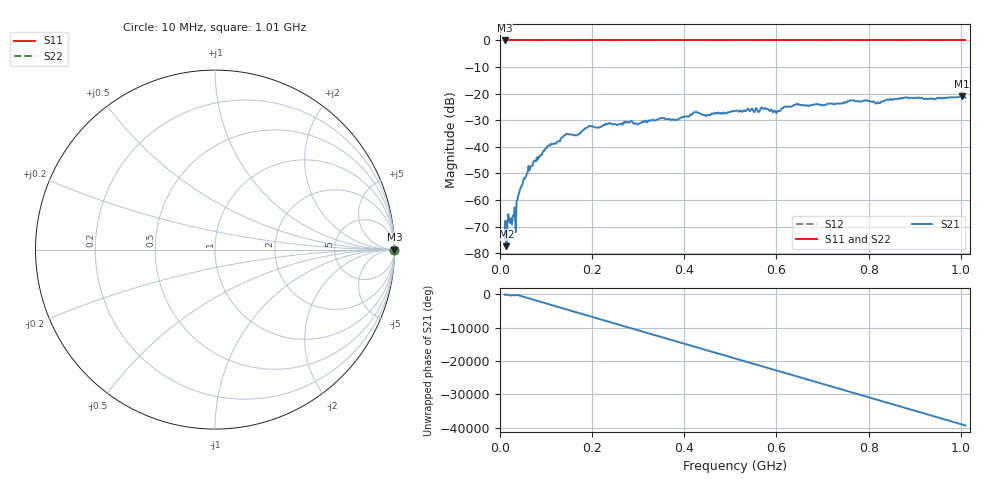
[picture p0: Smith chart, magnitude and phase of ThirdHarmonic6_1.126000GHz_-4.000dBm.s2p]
! 8/16/2025 10:53:17 AM
! C:\ANRITSUVNA\TEMP\TEMP.S2P
! CHANNEL.1
! TR.MEASUREMENT
! RAW.DATA
! RF.CORRECTION.OFF
! AVERAGING.OFF
! IF.BANDWIDTH: 5KHZ
! SWEEPTYPE:  FREQ.SWEEP(Linear)
! Reference Plane Port Info
! PORT:  PORT1  PORT2
! DISTANCE:  0  m  0  m
! TIME:  0  s  0  s
! PHASE.OFFSET:  0  deg.  0  deg.
! LOSS:  0  dB  0  dB
! REF.LOSS:  0  dB  0  dB
! REF.FREQ:  0  Hz  0  Hz
! Power Info
! POWER:  -20  dBm  -20  dBm
! EFF.POWER:  -20  dBm  -20  dBm
! SOURCE.ATTEN:  0  dB  0  dB
! TEST.ATTEN:  0  dB  0  dB
# GHZ S RI R 50.0
! FREQ.GHZ  S11RE  S11IM  S21RE  S21IM  S12RE  S12IM  S22RE  S22IM
!; PortSelection: Port_12
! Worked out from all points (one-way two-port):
!   501 points, 10 MHz to 1.01 GHz, reference 50 ohm
!   highest |S21| = -20.97 dB at 1.002 GHz (marker M1); lowest = -77.3 dB at 14 MHz (marker M2)
!   lowest |S11| = 0.0 dB at 10 MHz (marker M3)
!   |S11| at or under -10 dB: nowhere
!   |S22| runs from 0.0 to 0.0 dB; largest |S21 - S12| = 1.1
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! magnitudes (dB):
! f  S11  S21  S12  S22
! 10 MHz  0.0  -74.3  0.0  0.0
! 14 MHz  0.0  -77.3  0.0  0.0
! 20 MHz  0.0  -67.6  0.0  0.0
! 28 MHz  0.0  -65.8  0.0  0.0
! 30 MHz  0.0  -66.0  0.0  0.0
! 38 MHz  0.0  -59.7  0.0  0.0
! 40 MHz  0.0  -58.0  0.0  0.0
! 48 MHz  0.0  -54.3  0.0  0.0
! 76 MHz  0.0  -45.4  0.0  0.0
! 106 MHz  0.0  -39.5  0.0  0.0
! 142 MHz  0.0  -35.4  0.0  0.0
! 178 MHz  0.0  -34.0  0.0  0.0
! 196 MHz  0.0  -32.2  0.0  0.0
! 344 MHz  0.0  -29.7  0.0  0.0
! 510 MHz  0.0  -26.5  0.0  0.0
! 572 MHz  0.0  -25.8  0.0  0.0
! 602 MHz  0.0  -26.5  0.0  0.0
! 642 MHz  0.0  -24.0  0.0  0.0
! 678 MHz  0.0  -24.4  0.0  0.0
! 844 MHz  0.0  -22.3  0.0  0.0
! 1.002 GHz  0.0  -21.0  0.0  0.0
! 1.01 GHz  0.0  -21.5  0.0  0.0
